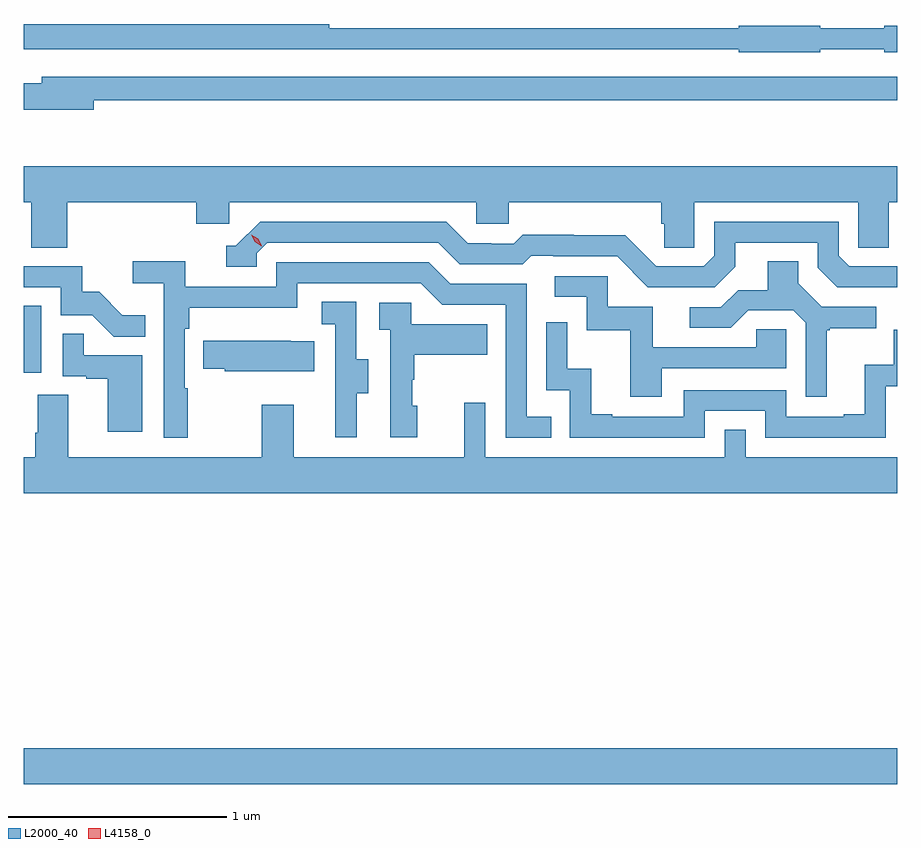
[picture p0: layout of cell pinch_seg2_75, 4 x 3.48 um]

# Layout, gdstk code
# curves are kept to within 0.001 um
import gdstk
lib = gdstk.Library(unit=1e-6, precision=1e-09)
def R(c, l, rs):  # rectangles x0, y0, x1, y1
    for r in rs: c.add(gdstk.rectangle(r[:2], r[2:], *l))
def P(c, l, *ps):  # polygons
    for p in ps: c.add(gdstk.Polygon(p, *l))
L2000_40 = (2000, 40)
L4158_0 = (4158, 0)

pinch_seg2_75 = lib.new_cell('pinch_seg2_75')
R(pinch_seg2_75, L2000_40, [(1076.713,647.636,1080.713,647.8), (1076.713,649.518,1076.794,649.825)])
P(pinch_seg2_75, L2000_40, [(1080.36,651),(1080.654,651),(1080.654,650.987),(1080.713,650.987),(1080.713,651.109),(1080.654,651.109),(1080.654,651.096),(1080.36,651.096),(1080.36,651.109),(1079.988,651.109),(1079.988,651.096),(1078.112,651.096),(1078.112,651.116),(1076.713,651.116),(1076.713,651),(1079.988,651),(1079.988,650.987),(1080.36,650.987)],
  [(1077.034,650.766),(1080.713,650.766),(1080.713,650.874),(1076.795,650.874),(1076.795,650.845),(1076.713,650.845),(1076.713,650.723),(1077.034,650.723)],
  [(1076.912,650.3),(1077.503,650.3),(1077.503,650.202),(1077.654,650.202),(1077.654,650.3),(1078.785,650.3),(1078.785,650.202),(1078.935,650.202),(1078.935,650.3),(1079.633,650.3),(1079.633,650.202),(1079.647,650.202),(1079.647,650.092),(1079.784,650.092),(1079.784,650.3),(1080.534,650.3),(1080.534,650.092),(1080.673,650.092),(1080.673,650.3),(1080.713,650.3),(1080.713,650.464),(1076.713,650.464),(1076.713,650.3),(1076.747,650.3),(1076.747,650.092),(1076.912,650.092)],
  [(1080.713,650.007),(1080.492,650.007),(1080.444,650.055),(1080.444,650.211),(1079.874,650.211),(1079.874,650.055),(1079.826,650.007),(1079.61,650.007),(1079.468,650.149),(1079.232,650.149),(1079.232,650.152),(1078.999,650.152),(1078.957,650.109),(1078.854,650.109),(1078.854,650.112),(1078.747,650.112),(1078.648,650.211),(1077.795,650.211),(1077.684,650.1),(1077.641,650.1),(1077.641,650.004),(1077.78,650.004),(1077.78,650.067),(1077.828,650.115),(1078.611,650.115),(1078.71,650.016),(1078.999,650.016),(1079.038,650.055),(1079.137,650.055),(1079.137,650.052),(1079.43,650.052),(1079.571,649.911),(1079.877,649.911),(1079.971,650.005),(1079.971,650.115),(1080.348,650.115),(1080.348,650.001),(1080.438,649.911),(1080.713,649.91)],
  [(1080.391,649.713),(1080.403,649.713),(1080.403,649.724),(1080.616,649.724),(1080.616,649.821),(1080.366,649.821),(1080.259,649.928),(1080.259,650.03),(1080.119,650.03),(1080.119,649.898),(1079.984,649.898),(1079.904,649.818),(1079.763,649.818),(1079.763,649.725),(1079.95,649.725),(1080.031,649.806),(1080.237,649.806),(1080.294,649.749),(1080.294,649.41),(1080.391,649.41)],
  [(1077.463,649.448),(1077.45,649.448),(1077.45,649.721),(1077.47,649.721),(1077.47,649.817),(1077.966,649.817),(1077.966,649.929),(1078.53,649.929),(1078.629,649.83),(1078.92,649.83),(1078.92,649.221),(1079.129,649.221),(1079.129,649.317),(1079.016,649.317),(1079.016,649.926),(1078.666,649.926),(1078.567,650.025),(1077.87,650.025),(1077.87,649.914),(1077.452,649.914),(1077.452,650.03),(1077.213,650.03),(1077.213,649.928),(1077.354,649.928),(1077.354,649.221),(1077.463,649.221)],
  [(1077.269,649.783),(1077.165,649.783),(1077.058,649.89),(1076.982,649.89),(1076.982,650.007),(1076.713,650.007),(1076.713,649.911),(1076.883,649.911),(1076.883,649.782),(1077.027,649.782),(1077.125,649.684),(1077.269,649.684)],
  [(1079.635,649.539),(1080.204,649.539),(1080.204,649.719),(1080.067,649.719),(1080.067,649.635),(1079.593,649.635),(1079.593,649.821),(1079.388,649.821),(1079.388,649.962),(1079.145,649.962),(1079.145,649.866),(1079.292,649.866),(1079.292,649.713),(1079.491,649.713),(1079.491,649.41),(1079.635,649.41)],
  [(1078.237,649.426),(1078.291,649.426),(1078.291,649.581),(1078.236,649.581),(1078.236,649.844),(1078.077,649.844),(1078.077,649.741),(1078.14,649.741),(1078.14,649.437),(1078.139,649.437),(1078.139,649.224),(1078.237,649.224)],
  [(1078.516,649.368),(1078.491,649.368),(1078.491,649.487),(1078.501,649.487),(1078.501,649.601),(1078.835,649.601),(1078.835,649.741),(1078.488,649.741),(1078.488,649.839),(1078.341,649.839),(1078.341,649.715),(1078.392,649.715),(1078.392,649.224),(1078.516,649.224)],
  [(1079.832,649.344),(1080.108,649.344),(1080.108,649.221),(1080.66,649.221),(1080.66,649.457),(1080.713,649.457),(1080.713,649.716),(1080.696,649.716),(1080.696,649.555),(1080.563,649.555),(1080.563,649.33),(1080.467,649.33),(1080.467,649.317),(1080.204,649.317),(1080.204,649.44),(1079.736,649.44),(1079.736,649.317),(1079.407,649.317),(1079.407,649.33),(1079.312,649.33),(1079.312,649.538),(1079.202,649.538),(1079.202,649.75),(1079.106,649.75),(1079.106,649.44),(1079.214,649.44),(1079.214,649.221),(1079.832,649.221)],
  [(1077.256,649.599),(1076.987,649.599),(1076.987,649.697),(1076.892,649.697),(1076.892,649.503),(1076.999,649.503),(1076.999,649.491),(1077.098,649.491),(1077.098,649.248),(1077.256,649.248)],
  [(1078.043,649.663),(1077.935,649.663),(1077.935,649.666),(1077.535,649.666),(1077.535,649.537),(1077.633,649.537),(1077.633,649.526),(1078.043,649.526)],
  [(1080.713,649.132),(1080.018,649.132),(1080.018,649.259),(1079.922,649.259),(1079.922,649.132),(1078.827,649.132),(1078.827,649.381),(1078.73,649.381),(1078.73,649.132),(1077.949,649.132),(1077.949,649.372),(1077.802,649.372),(1077.802,649.132),(1076.917,649.132),(1076.917,649.418),(1076.777,649.418),(1076.777,649.244),(1076.765,649.244),(1076.765,649.132),(1076.713,649.132),(1076.713,648.968),(1080.713,648.968)])
P(pinch_seg2_75, L4158_0, [(1077.802,650.099),(1077.771,650.118),(1077.754,650.151),(1077.754,650.151),(1077.755,650.151),(1077.786,650.132),(1077.802,650.099),(1077.802,650.099)])

lib.write_gds('pinch_seg2_75.gds')
